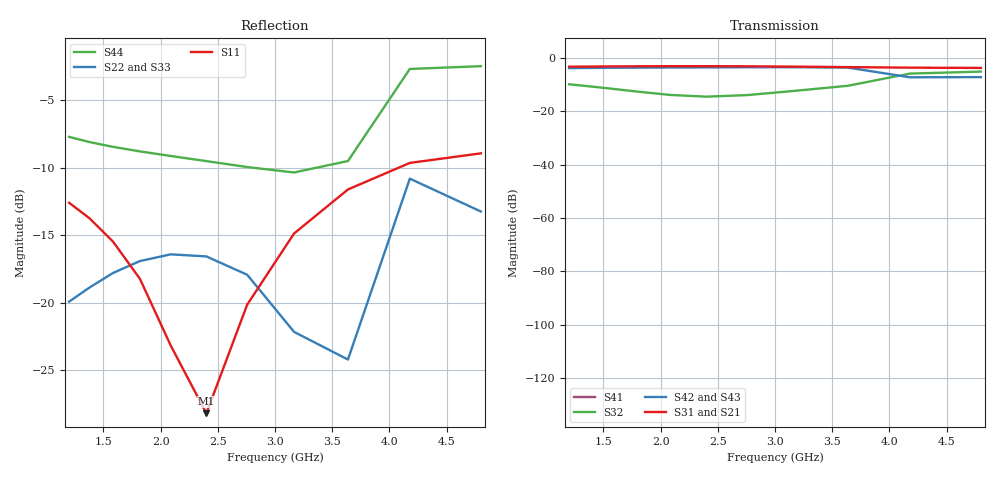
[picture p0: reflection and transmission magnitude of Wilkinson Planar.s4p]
! Generated by circuitRF - EM: Full-wave planar
! circuitRF-EM setup: Wilkinson Planar
! circuitRF-EM layout: Wilkinson/layout/Wilkinson.clay
! circuitRF-EM written: 2026-11-15 22:49:17Z
! circuitRF-EM stamp: 20261115T224917Z-14717012
! circuitRF-EM geometry: a12f9eba63d54f00
! circuitRF-EM mesh settings: 160092dd3dfb76a4
! circuitRF-EM ports: 251c1bc2294844c4
! circuitRF-EM mesh unknowns: 5290
! circuitRF-EM model: grounded-edge-port-2026-10-14
! Port[1] = 1
! Port[2] = 2
! Port[3] = 3
! Port[4] = R1
! circuitRF-EM port 1: '1' at (0, 0 mil), edge, de-embedded, 50 Ohm
! circuitRF-EM port 2: '2' at (891.7424, 382.0409 mil), edge, de-embedded, 50 Ohm
! circuitRF-EM port 3: '3' at (891.7424, -382.0409 mil), edge, de-embedded, 50 Ohm
! circuitRF-EM port 4: 'R1' at (701.5158, 0 mil), internal delta gap, 50 Ohm
! circuitRF-EM: port N of this file is the label named on the 'port N' line above. A circuit that composes this result binds its nets in that order; two ports of a reciprocal part swapped gives a plausible curve of a different structure.
! Port 1 = P01  1  net=n1  ref=ground  calibrated
! Port 2 = P02  2  net=n3  ref=ground  calibrated
! Port 3 = P03  3  net=n5  ref=ground  calibrated
! Port 4 = P04  R1  net=r2  ref=R1.2  uncalibrated
! DC: none, the lowest row is 1.2 GHz; a circuit's DC solve through this file takes that row as DC
! circuitRF-EM: re-running the EM setup rewrites this file. If circuitRF reports it as stale, the layout's cross-section changed after this file was written.
# GHz S RI R 50
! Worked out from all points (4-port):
!   11 points, 1.2 GHz to 4.8 GHz, reference 50 ohm
!   strongest paths, dB at 1.2 GHz, 1.583 GHz, 2.4 GHz, 3.638 GHz, 4.8 GHz:
!     S31: -3.3, -3.2, -3.1, -3.5, -3.8
!     S21: -3.3, -3.2, -3.1, -3.5, -3.8
!     S42: -3.9, -3.7, -3.6, -3.7, -7.2
!     S43: -3.9, -3.7, -3.6, -3.7, -7.2
!     S32: -9.9, -11.6, -14.5, -10.5, -5.1
!     S41: -175.0, -172.0, -167.6, -163.0, -170.1
!   lowest |S11| = -28.2 dB at 2.4 GHz (marker M1), VSWR 1.08, Z = 50.8 - j3.86 ohm
!   |S11| at or under -10 dB: start of sweep to 4.078 GHz
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1.2  -0.0347 0.2322  0.0113 -0.6831  0.0113 -0.6831  1.49e-09 9.88e-10
     0.0113 -0.6831  -0.0546 0.085  0.029 -0.3186  0.6046 -0.2157
     0.0113 -0.6831  0.029 -0.3186  -0.0546 0.085  -0.6046 0.2157
     1.49e-09 9.88e-10  0.6046 -0.2157  -0.6046 0.2157  0.3196 0.2597
1.81886  0.0793 0.0937  -0.5046 -0.4792  -0.5046 -0.4792  2.94e-09 -5.13e-10
         -0.5046 -0.4792  -0.0162 0.1419  -0.0788 -0.2169  0.4822 -0.4447
         -0.5046 -0.4792  -0.0788 -0.2169  -0.0162 0.1419  -0.4822 0.4447
         2.94e-09 -5.13e-10  0.4822 -0.4447  -0.4822 0.4447  0.3523 0.0913
2.4  0.00892 -0.0379  -0.6984 0.0214  -0.6984 0.0214  2.67e-09 -3.2e-09
     -0.6984 0.0214  0.079 0.1258  -0.0881 -0.1657  0.3022 -0.5901
     -0.6984 0.0214  -0.0881 -0.1657  0.079 0.1258  -0.3022 0.5901
     2.67e-09 -3.2e-09  0.3022 -0.5901  -0.3022 0.5901  0.3332 -0.0344
3.166819  -0.1797 0.0189  -0.3276 0.6018  -0.3276 0.6018  -1.53e-09 -5.67e-09
          -0.3276 0.6018  0.0752 0.0207  -0.158 -0.1814  -0.0161 -0.6682
          -0.3276 0.6018  -0.158 -0.1814  0.0752 0.0207  0.0161 0.6682
          -1.53e-09 -5.67e-09  -0.0161 -0.6682  0.0161 0.6682  0.2201 -0.2096
3.63772  -0.205 0.1647  0.0877 0.6652  0.0877 0.6652  -5.64e-09 -4.23e-09
         0.0877 0.6652  0.014 0.06  -0.2531 -0.1612  -0.2685 -0.5994
         0.0877 0.6652  -0.2531 -0.1612  0.014 0.06  0.2685 0.5994
         -5.64e-09 -4.23e-09  -0.2685 -0.5994  0.2685 0.5994  0.00722 -0.3351
4.178643  -0.0927 0.3165  0.4884 0.4372  0.4884 0.4372  -6.35e-09 3.55e-09
          0.4884 0.4372  0.2072 0.2006  -0.5029 -0.0689  -0.4187 -0.1102
          0.4884 0.4372  -0.5029 -0.0689  0.2072 0.2006  0.4187 0.1102
          -6.35e-09 3.55e-09  -0.4187 -0.1102  0.4187 0.1102  -0.7345 -0.0286
4.8  0.1404 0.3292  0.6461 -0.0465  0.6461 -0.0465  -3.1e-09 -4.48e-10
     0.6461 -0.0465  0.1471 -0.1608  -0.2283 0.5037  0.0186 -0.4354
     0.6461 -0.0465  -0.2283 0.5037  0.1471 -0.1608  -0.0186 0.4354
     -3.1e-09 -4.48e-10  0.0186 -0.4354  -0.0186 0.4354  0.2654 0.7044
